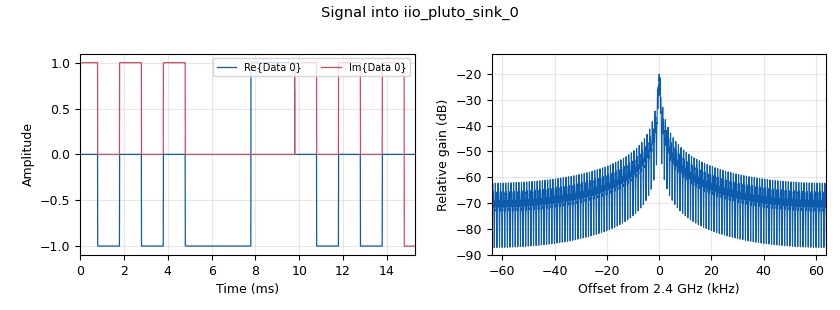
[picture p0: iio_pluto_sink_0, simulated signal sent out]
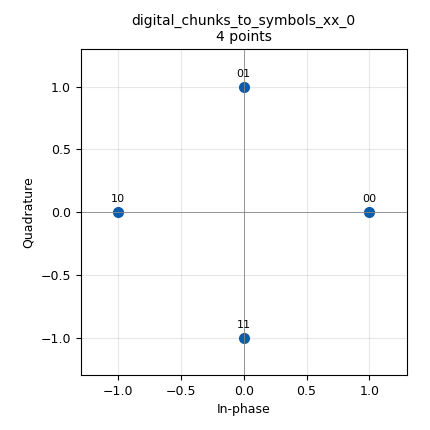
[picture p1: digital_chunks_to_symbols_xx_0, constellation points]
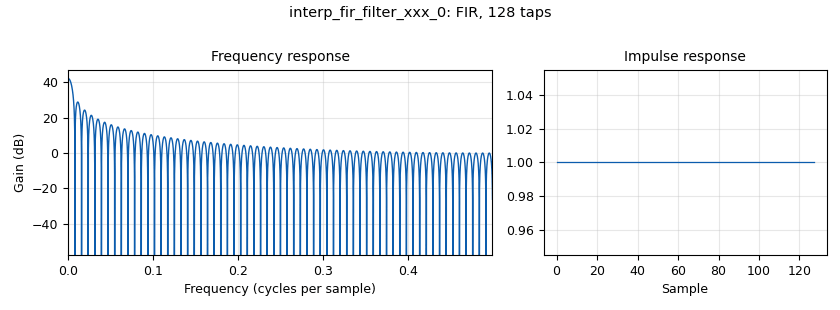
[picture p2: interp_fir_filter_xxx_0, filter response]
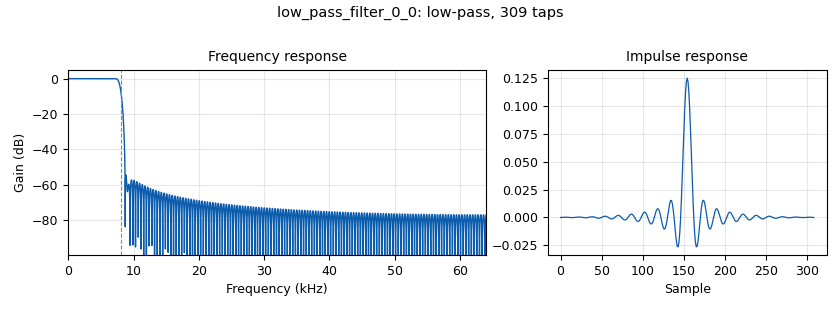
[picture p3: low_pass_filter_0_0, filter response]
options:
  parameters:
    generate_options: qt_gui
    id: commn_5ghz
    output_language: python
    title: 5Ghz Communication
  states: {}

blocks:
- name: N
  id: variable
  parameters:
    value: '4'
  states: {}
- name: delay_1
  id: variable_qtgui_range
  parameters:
    label: Delay
    start: '0'
    step: '1'
    stop: '1000'
    value: '75'
  states: {}
- name: fc
  id: variable
  parameters:
    value: int(8e3)
  states: {}
- name: gain_rx
  id: variable_qtgui_range
  parameters:
    start: '1'
    step: '1'
    stop: '100'
    value: '1'
  states: {}
- name: lo
  id: variable
  parameters:
    value: int(2.4e9)
  states: {}
- name: samp_rate
  id: variable
  parameters:
    value: int(128e3)
  states: {}
- name: analog_random_source_x_0
  id: analog_random_source_x
  parameters:
    max: '4'
    min: '0'
    num_samps: '1000'
    repeat: 'True'
    type: int
  states: {}
- name: analog_sig_source_x_0
  id: analog_sig_source_x
  parameters:
    amp: '-1.414'
    freq: fc
    offset: '0'
    phase: '0'
    samp_rate: samp_rate
    type: float
    waveform: analog.GR_SIN_WAVE
  states: {}
- name: analog_sig_source_x_0_0
  id: analog_sig_source_x
  parameters:
    amp: '1.414'
    freq: fc
    offset: '0'
    phase: '0'
    samp_rate: samp_rate
    type: float
    waveform: analog.GR_COS_WAVE
  states: {}
- name: analog_sig_source_x_0_0_0
  id: analog_sig_source_x
  parameters:
    amp: '1'
    freq: fc
    offset: '0'
    phase: '0'
    samp_rate: samp_rate
    type: complex
    waveform: analog.GR_COS_WAVE
  states: {}
- name: blocks_complex_to_real_0
  id: blocks_complex_to_real
  parameters: {}
  states: {}
- name: blocks_delay_0
  id: blocks_delay
  parameters:
    delay: delay_1
    type: complex
  states: {}
- name: blocks_float_to_complex_0
  id: blocks_float_to_complex
  parameters: {}
  states: {}
- name: blocks_multiply_const_vxx_0
  id: blocks_multiply_const_vxx
  parameters:
    const: gain_rx
    type: complex
  states: {}
- name: blocks_multiply_xx_0
  id: blocks_multiply_xx
  parameters:
    type: float
  states: {}
- name: blocks_multiply_xx_0_0
  id: blocks_multiply_xx
  parameters:
    type: float
  states: {}
- name: blocks_multiply_xx_1
  id: blocks_multiply_xx
  parameters:
    type: complex
  states: {}
- name: digital_chunks_to_symbols_xx_0
  id: digital_chunks_to_symbols_xx
  parameters:
    dimension: '1'
    in_type: int
    out_type: complex
    symbol_table: np.exp(1j* 2 * np.pi * np.arange(N) / N)
  states: {}
- name: iio_pluto_sink_0
  id: iio_pluto_sink
  parameters:
    attenuation1: '10.0'
    bandwidth: '20000000'
    buffer_size: '32768'
    cyclic: 'False'
    filter_source: '''Auto'''
    frequency: lo
    samplerate: samp_rate
    type: fc32
    uri: 192.168.2.1
  states: {}
- name: iio_pluto_source_0
  id: iio_pluto_source
  parameters:
    bandwidth: '20000000'
    bbdc: 'True'
    buffer_size: '32768'
    filter_source: '''Auto'''
    frequency: lo
    gain1: '''slow_attack'''
    quadrature: 'True'
    rfdc: 'True'
    samplerate: samp_rate
    type: fc32
    uri: 192.168.2.1
  states: {}
- name: import_0
  id: import
  parameters:
    imports: import numpy as np
  states: {}
- name: interp_fir_filter_xxx_0
  id: interp_fir_filter_xxx
  parameters:
    interp: samp_rate // 1000
    taps: np.ones(samp_rate // 1000)
    type: ccc
  states: {}
- name: low_pass_filter_0_0
  id: low_pass_filter
  parameters:
    cutoff_freq: fc
    gain: '1'
    interp: '1'
    samp_rate: samp_rate
    type: interp_fir_filter_fff
    width: int(1e3)
    win: window.WIN_HAMMING
  states: {}
- name: low_pass_filter_0_0_0
  id: low_pass_filter
  parameters:
    cutoff_freq: fc
    gain: '1'
    interp: '1'
    samp_rate: samp_rate
    type: interp_fir_filter_fff
    width: int(1e3)
    win: window.WIN_HAMMING
  states: {}
- name: qtgui_const_sink_x_0
  id: qtgui_const_sink_x
  parameters:
    autoscale: 'True'
    grid: 'True'
    nconnections: '2'
    size: '1024'
    type: complex
  states: {}
- name: qtgui_time_sink_x_0
  id: qtgui_time_sink_x
  parameters:
    autoscale: 'True'
    grid: 'True'
    name: Data Tx and Rx
    nconnections: '2'
    size: '1024'
    srate: samp_rate
    type: complex
    yunit: Time
  states: {}
- name: qtgui_time_sink_x_1
  id: qtgui_time_sink_x
  parameters:
    autoscale: 'True'
    grid: 'True'
    name: Modulated
    size: '1024'
    srate: samp_rate
    type: float
  states: {}

connections:
- [analog_random_source_x_0, '0', digital_chunks_to_symbols_xx_0, '0']
- [analog_sig_source_x_0, '0', blocks_multiply_xx_0_0, '1']
- [analog_sig_source_x_0_0, '0', blocks_multiply_xx_0, '1']
- [analog_sig_source_x_0_0_0, '0', blocks_multiply_xx_1, '1']
- [blocks_complex_to_real_0, '0', blocks_multiply_xx_0, '0']
- [blocks_complex_to_real_0, '0', blocks_multiply_xx_0_0, '0']
- [blocks_complex_to_real_0, '0', qtgui_time_sink_x_1, '0']
- [blocks_delay_0, '0', qtgui_time_sink_x_0, '0']
- [blocks_float_to_complex_0, '0', blocks_multiply_const_vxx_0, '0']
- [blocks_multiply_const_vxx_0, '0', qtgui_const_sink_x_0, '1']
- [blocks_multiply_const_vxx_0, '0', qtgui_time_sink_x_0, '1']
- [blocks_multiply_xx_0, '0', low_pass_filter_0_0, '0']
- [blocks_multiply_xx_0_0, '0', low_pass_filter_0_0_0, '0']
- [blocks_multiply_xx_1, '0', blocks_complex_to_real_0, '0']
- [digital_chunks_to_symbols_xx_0, '0', interp_fir_filter_xxx_0, '0']
- [digital_chunks_to_symbols_xx_0, '0', qtgui_const_sink_x_0, '0']
- [iio_pluto_source_0, '0', blocks_multiply_xx_1, '0']
- [interp_fir_filter_xxx_0, '0', blocks_delay_0, '0']
- [interp_fir_filter_xxx_0, '0', iio_pluto_sink_0, '0']
- [low_pass_filter_0_0, '0', blocks_float_to_complex_0, '0']
- [low_pass_filter_0_0_0, '0', blocks_float_to_complex_0, '1']

metadata:
  file_format: 1
  grc_version: 3.10.11.0
